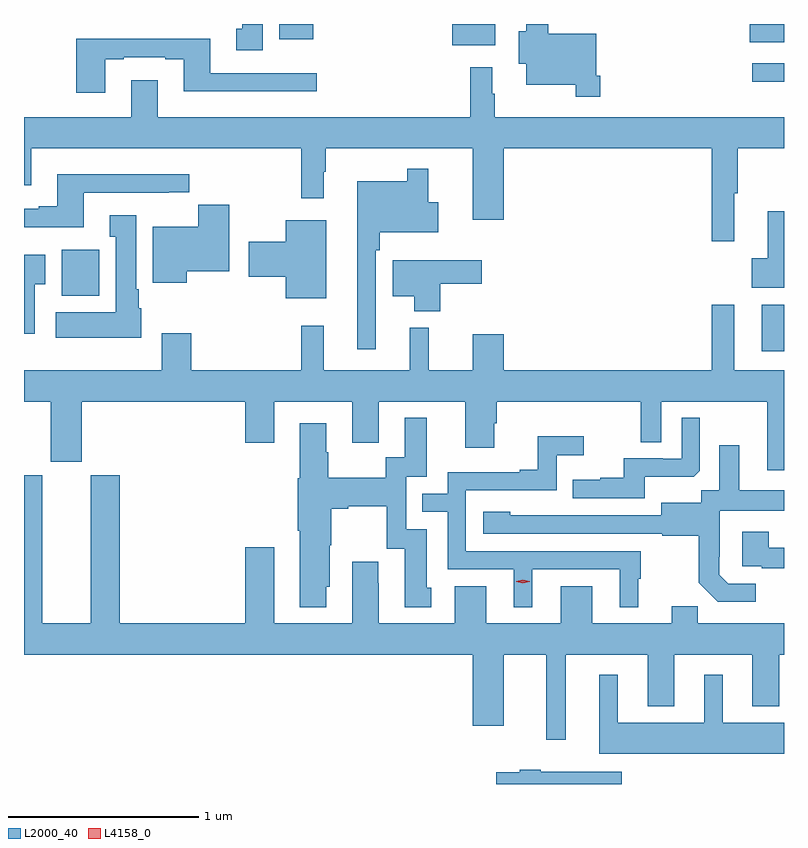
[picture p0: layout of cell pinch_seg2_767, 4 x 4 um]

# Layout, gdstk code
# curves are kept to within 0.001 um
import gdstk
lib = gdstk.Library(unit=1e-6, precision=1e-09)
def R(c, l, rs):  # rectangles x0, y0, x1, y1
    for r in rs: c.add(gdstk.rectangle(r[:2], r[2:], *l))
def P(c, l, *ps):  # polygons
    for p in ps: c.add(gdstk.Polygon(p, *l))
L2000_40 = (2000, 40)
L4158_0 = (4158, 0)

pinch_seg2_767 = lib.new_cell('pinch_seg2_767')
R(pinch_seg2_767, L2000_40, [(729.965,627.92,730.083,628.165), (726.281,628.214,726.478,628.456), (729.915,629.339,730.083,629.436), (728.336,629.531,728.563,629.643), (729.902,629.546,730.083,629.643), (727.427,629.564,727.606,629.643)])
P(pinch_seg2_767, L2000_40, [(729.116,629.371),(729.096,629.371),(729.096,629.593),(728.843,629.593),(728.843,629.643),(728.726,629.643),(728.726,629.606),(728.687,629.606),(728.687,629.435),(728.726,629.435),(728.726,629.324),(728.988,629.324),(728.988,629.259),(729.116,629.259)],
  [(727.339,629.643),(727.232,629.643),(727.232,629.618),(727.199,629.618),(727.199,629.505),(727.339,629.505)],
  [(726.511,629.457),(726.607,629.457),(726.607,629.469),(726.827,629.469),(726.827,629.457),(726.923,629.457),(726.923,629.288),(727.624,629.288),(727.624,629.385),(727.063,629.385),(727.063,629.566),(726.359,629.566),(726.359,629.28),(726.511,629.28)],
  [(729.821,628.752),(729.839,628.752),(729.839,628.988),(730.083,628.988),(730.083,629.152),(728.56,629.152),(728.56,629.276),(728.548,629.276),(728.548,629.416),(728.431,629.416),(728.431,629.152),(726.787,629.152),(726.787,629.347),(726.647,629.347),(726.647,629.152),(726.083,629.152),(726.083,628.794),(726.121,628.794),(726.121,628.988),(727.543,628.988),(727.543,628.725),(727.66,628.725),(727.66,628.865),(727.672,628.865),(727.672,628.988),(728.444,628.988),(728.444,628.614),(728.608,628.614),(728.608,628.988),(729.703,628.988),(729.703,628.5),(729.821,628.5)],
  [(727.935,628.451),(727.955,628.451),(727.955,628.547),(728.263,628.547),(728.263,628.705),(728.211,628.705),(728.211,628.882),(728.1,628.882),(728.1,628.816),(727.838,628.816),(727.838,627.93),(727.935,627.93)],
  [(726.397,628.755),(726.845,628.755),(726.845,628.757),(726.954,628.757),(726.954,628.852),(726.257,628.852),(726.257,628.684),(726.161,628.684),(726.161,628.671),(726.083,628.671),(726.083,628.574),(726.397,628.574)],
  [(726.94,628.343),(727.162,628.343),(727.162,628.692),(727.001,628.692),(727.001,628.576),(726.761,628.576),(726.761,628.28),(726.94,628.28)],
  [(730.083,628.657),(729.998,628.657),(729.998,628.409),(729.912,628.409),(729.912,628.256),(730.083,628.256)],
  [(726.7,628.146),(726.688,628.146),(726.688,628.246),(726.673,628.246),(726.673,628.636),(726.533,628.636),(726.533,628.523),(726.566,628.523),(726.566,628.126),(726.249,628.126),(726.249,627.992),(726.7,627.992)],
  [(727.675,628.609),(727.46,628.609),(727.46,628.496),(727.266,628.496),(727.266,628.313),(727.46,628.313),(727.46,628.199),(727.675,628.199)],
  [(726.139,628.273),(726.196,628.273),(726.196,628.429),(726.083,628.429),(726.083,628.014),(726.139,628.014)],
  [(728.273,628.277),(728.491,628.277),(728.491,628.399),(728.024,628.399),(728.024,628.211),(728.138,628.211),(728.138,628.13),(728.273,628.13)],
  [(730.083,627.82),(729.82,627.82),(729.82,628.165),(729.703,628.165),(729.703,627.82),(728.608,627.82),(728.608,628.009),(728.444,628.009),(728.444,627.82),(728.214,627.82),(728.214,628.045),(728.114,628.045),(728.114,627.82),(727.661,627.82),(727.661,628.054),(727.543,628.054),(727.543,627.82),(726.962,627.82),(726.962,628.015),(726.809,628.015),(726.809,627.82),(726.083,627.82),(726.083,627.656),(726.224,627.656),(726.224,627.339),(726.388,627.339),(726.388,627.656),(727.247,627.656),(727.247,627.438),(727.399,627.438),(727.399,627.656),(727.811,627.656),(727.811,627.438),(727.951,627.438),(727.951,627.656),(728.405,627.656),(728.405,627.414),(728.557,627.414),(728.557,627.543),(728.57,627.543),(728.57,627.656),(729.33,627.656),(729.33,627.442),(729.438,627.442),(729.438,627.656),(729.995,627.656),(729.995,627.294),(730.083,627.294)],
  [(727.675,626.682),(727.693,626.682),(727.693,626.899),(727.701,626.899),(727.701,627.092),(727.789,627.092),(727.789,627.104),(727.991,627.104),(727.991,626.88),(728.087,626.88),(728.087,626.574),(728.227,626.574),(728.227,626.676),(728.203,626.676),(728.203,626.985),(728.094,626.985),(728.094,627.261),(728.203,627.261),(728.203,627.571),(728.087,627.571),(728.087,627.362),(727.986,627.362),(727.986,627.256),(727.683,627.256),(727.683,627.39),(727.675,627.39),(727.675,627.541),(727.535,627.541),(727.535,627.252),(727.523,627.252),(727.523,626.977),(727.535,626.977),(727.535,626.573),(727.675,626.573)],
  [(729.349,627.26),(729.607,627.26),(729.639,627.291),(729.639,627.571),(729.546,627.571),(729.546,627.354),(729.446,627.354),(729.446,627.357),(729.239,627.357),(729.239,627.256),(729.115,627.256),(729.115,627.244),(728.971,627.244),(728.971,627.147),(729.349,627.147)],
  [(728.758,626.772),(729.218,626.772),(729.218,626.573),(729.316,626.573),(729.316,626.724),(729.328,626.724),(729.328,626.868),(728.409,626.868),(728.409,627.189),(728.886,627.189),(728.886,627.374),(729.028,627.374),(729.028,627.473),(728.788,627.473),(728.788,627.298),(728.693,627.298),(728.693,627.285),(728.313,627.285),(728.313,627.171),(728.179,627.171),(728.179,627.075),(728.313,627.075),(728.313,626.772),(728.66,626.772),(728.66,626.573),(728.758,626.573)],
  [(729.934,626.697),(729.789,626.697),(729.742,626.744),(729.742,626.839),(729.744,626.839),(729.744,627.08),(730.083,627.08),(730.083,627.19),(729.847,627.19),(729.847,627.427),(729.743,627.427),(729.743,627.188),(729.648,627.188),(729.648,627.124),(729.437,627.124),(729.437,627.057),(728.643,627.058),(728.643,627.076),(728.499,627.076),(728.499,626.961),(729.441,626.961),(729.441,626.949),(729.633,626.949),(729.633,626.703),(729.733,626.603),(729.934,626.603)],
  [(728.935,626.324),(729.365,626.324),(729.365,626.051),(729.505,626.051),(729.505,626.324),(729.917,626.324),(729.917,626.051),(730.057,626.051),(730.057,626.324),(730.083,626.324),(730.083,626.488),(729.629,626.488),(729.629,626.579),(729.491,626.579),(729.491,626.488),(729.073,626.488),(729.073,626.683),(728.909,626.683),(728.909,626.488),(728.515,626.488),(728.515,626.683),(728.351,626.683),(728.351,626.488),(727.951,626.488),(727.951,626.699),(727.948,626.699),(727.948,626.812),(727.811,626.812),(727.811,626.488),(727.399,626.488),(727.399,626.89),(727.247,626.89),(727.247,626.488),(726.587,626.488),(726.587,627.267),(726.434,627.267),(726.434,626.488),(726.178,626.488),(726.178,627.267),(726.083,627.267),(726.083,626.324),(728.444,626.324),(728.444,625.95),(728.608,625.95),(728.608,626.324),(728.831,626.324),(728.831,625.875),(728.935,625.875)],
  [(730.083,626.886),(730.003,626.886),(730.003,626.971),(729.863,626.971),(729.863,626.79),(729.967,626.79),(729.967,626.778),(730.083,626.778)],
  [(730.083,625.966),(729.76,625.966),(729.76,626.218),(729.662,626.218),(729.662,625.966),(729.208,625.966),(729.208,626.218),(729.11,626.218),(729.11,625.802),(730.083,625.802)],
  [(729.229,625.708),(728.802,625.708),(728.802,625.718),(728.691,625.718),(728.691,625.705),(728.568,625.705),(728.568,625.643),(729.229,625.643)])
P(pinch_seg2_767, L4158_0, [(728.709,626.699),(728.673,626.708),(728.673,626.709),(728.673,626.709),(728.709,626.719),(728.745,626.709),(728.745,626.709),(728.745,626.708)])

lib.write_gds('pinch_seg2_767.gds')
